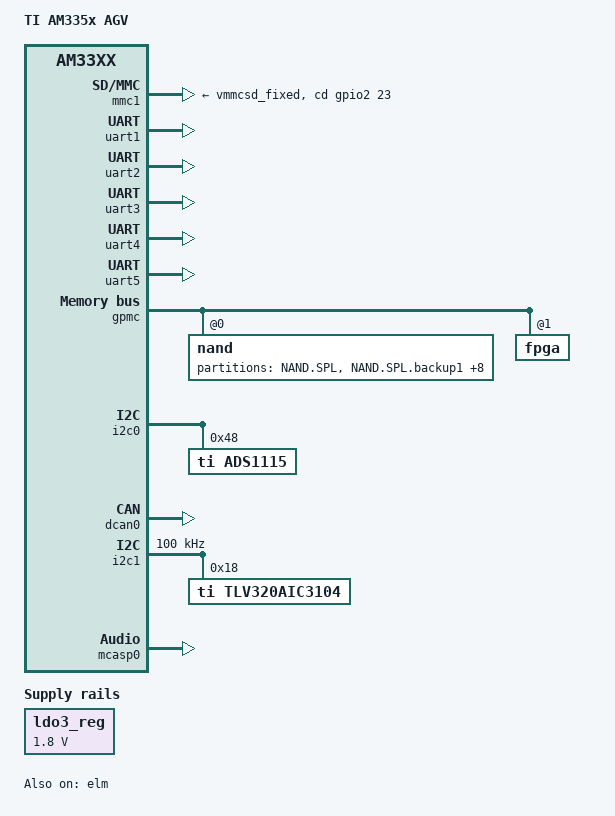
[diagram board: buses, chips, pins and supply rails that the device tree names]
/*
 * Copyright (C) 2012 Texas Instruments Incorporated - http://www.ti.com/
 *
 * This program is free software; you can redistribute it and/or modify
 * it under the terms of the GNU General Public License version 2 as
 * published by the Free Software Foundation.
 */
/dts-v1/;

#include "am33xx.dtsi"
#include "am33xx-es2.dtsi"


#include "am335x-agv-common.dtsi"

/ {
	model = "TI AM335x AGV";
	compatible = "ti,am335x-agv", "ti,am33xx";

/*
	clk_mcasp0: clk_mcasp0 {
		#clock-cells = <0>;
		compatible = "fixed-clock";
		clock-frequency = <12000000>;
	};
*/
	
	sound {
		compatible = "simple-audio-card";
		simple-audio-card,name = "Audio-3104";
		simple-audio-card,widgets =
			"Headphone", "Headphone Jack",
			"Line", "Line In";
		simple-audio-card,routing =
			"Headphone Jack",       "HPLOUT",
			"Headphone Jack",       "HPROUT",
			"LINE1L",               "Line In",
			"LINE1R",               "Line In";
		simple-audio-card,format = "dsp_b";
		simple-audio-card,bitclock-master = <&sound_master>;
		simple-audio-card,frame-master = <&sound_master>;
		simple-audio-card,bitclock-inversion;

		simple-audio-card,cpu {
			sound-dai = <&mcasp0>;
		};

		sound_master: simple-audio-card,codec {
			#sound-dai-cells = <0>;
			sound-dai = <&tlv320aic3104>;
/*
			clocks = <&clk_mcasp0>;
			clock-names = "mclk";
*/
			system-clock-frequency = <12000000>;
		};
	};
};

&ldo3_reg {
	regulator-min-microvolt = <1800000>;
	regulator-max-microvolt = <1800000>;
	regulator-always-on;
};

&mmc1 {
	vmmc-supply = <&vmmcsd_fixed>;
};

&uart1 {
	pinctrl-names = "default";
	pinctrl-0 = <&uart1_pins>;
	status = "okay";
};

&uart2 {
	pinctrl-names = "default";
	pinctrl-0 = <&uart2_pins>;
	status = "okay";
};

&uart3 {
	pinctrl-names = "default";
	pinctrl-0 = <&uart3_pins>;
	status = "okay";
	rts-gpio = <&gpio2 24 GPIO_ACTIVE_HIGH>;
	rs485-rts-active-high;
	rs485-rts-delay = <0 0>;
	linux,rs485-enabled-at-boot-time;
};

&uart4 {
	pinctrl-names = "default";
	pinctrl-0 = <&uart4_pins>;
	status = "okay";
};

&uart5 {
	pinctrl-names = "default";
	pinctrl-0 = <&uart5_pins>;
	status = "okay";
};

&elm {
	status = "okay";
};

&gpmc {
	status = "okay";
	pinctrl-names = "default";
	pinctrl-0 = <&gpmc_pins>;
	ranges = <0 0 0x08000000 0x1000000>,	/* CS0: 16MB for NAND */
			 <1 0 0x10000000 0x1000000>;	/* CS1: 16MB for fpga */
	nand@0,0 {
		reg = <0 0 4>; /* CS0, offset 0, IO size 4 */
		ti,nand-ecc-opt = "bch16";
		ti,elm-id = <&elm>;
		nand-bus-width = <8>;
		gpmc,device-width = <1>;
		gpmc,sync-clk-ps = <0>;
		gpmc,cs-on-ns = <0>;
		gpmc,cs-rd-off-ns = <44>;
		gpmc,cs-wr-off-ns = <44>;
		gpmc,adv-on-ns = <6>;
		gpmc,adv-rd-off-ns = <34>;
		gpmc,adv-wr-off-ns = <44>;
		gpmc,we-on-ns = <0>;
		gpmc,we-off-ns = <40>;
		gpmc,oe-on-ns = <0>;
		gpmc,oe-off-ns = <54>;
		gpmc,access-ns = <64>;
		gpmc,rd-cycle-ns = <82>;
		gpmc,wr-cycle-ns = <82>;
		gpmc,wait-on-read = "true";
		gpmc,wait-on-write = "true";
		gpmc,bus-turnaround-ns = <0>;
		gpmc,cycle2cycle-delay-ns = <0>;
		gpmc,clk-activation-ns = <0>;
		gpmc,wait-monitoring-ns = <0>;
		gpmc,wr-access-ns = <40>;
		gpmc,wr-data-mux-bus-ns = <0>;
		/* gpmc,device-nand = "true"; */
		/* MTD partition table */
		/* All SPL-* partitions are sized to minimal length
		 * which can be independently programmable. For
		 * NAND flash this is equal to size of erase-block */
		#address-cells = <1>;
		#size-cells = <1>;
		partition@0 {
			label = "NAND.SPL";
			reg = <0x00000000 0x000080000>;		/* offset, size */
		};
		partition@1 {
			label = "NAND.SPL.backup1";
			reg = <0x00080000 0x00080000>;
		};
		partition@2 {
			label = "NAND.SPL.backup2";
			reg = <0x00100000 0x00080000>;
		};
		partition@3 {
			label = "NAND.SPL.backup3";
			reg = <0x00180000 0x00080000>;
		};
		partition@4 {
			label = "NAND.u-boot-spl-os";
			reg = <0x00200000 0x00080000>;
		};
		partition@5 {
			label = "NAND.u-boot";
			reg = <0x00280000 0x00100000>;
		};
		partition@6 {
			label = "NAND.u-boot-env";
			reg = <0x00380000 0x00080000>;
		};
		partition@7 {
			label = "NAND.u-boot-env.backup1";
			reg = <0x00400000 0x00080000>;
		};
		partition@8 {
			label = "NAND.kernel";
			reg = <0x00480000 0x00A00000>;
		};
		partition@9 {
			label = "NAND.file-system";
			reg = <0x00e80000 0x3F180000>;
		};
	};
	fpga@1,0 {
		reg = <1 0 0x1000000>;		/* CS1, offset 0 */
		bank-width = <2>;
		gpmc,device-width = <2>;
		gpmc,sync-clk-ps = <0>;		/* timings */
		gpmc,cs-on-ns = <0>;
		gpmc,cs-rd-off-ns = <90>;	/* 80 */
		gpmc,cs-wr-off-ns = <80>;	/* 70 */
		gpmc,adv-on-ns = <0>;
		gpmc,adv-rd-off-ns = <0>;
		gpmc,adv-wr-off-ns = <0>;
		gpmc,we-on-ns = <10>;	/* 10 */
		gpmc,we-off-ns = <80>;	/* 70 */
		gpmc,oe-on-ns = <10>;	/* 10 */
		gpmc,oe-off-ns = <80>;	/* 70 */
		gpmc,access-ns = <70>;	/* 60 */
		gpmc,rd-cycle-ns = <80>;	/* 70 */
		gpmc,wr-cycle-ns = <70>;	/* 60 */
		gpmc,wr-access-ns = <10>;	/* 10 */
		#address-cells = <1>;
		#size-cells = <1>;
	};
};

&am33xx_pinmux {
	uart1_pins: pinmux_uart1_pins {
		pinctrl-single,pins = <
			/* uart1_txd.uart1_txd */
			AM33XX_IOPAD(0x984, PIN_OUTPUT_PULLDOWN | MUX_MODE0)
			/* uart1_rxd.uart1_rxd */
			AM33XX_IOPAD(0x980, PIN_INPUT_PULLUP | MUX_MODE0)
		>;
	};
	uart2_pins: pinmux_uart2_pins {
		pinctrl-single,pins = <
			/* spi0_d0.uart2_txd */
			AM33XX_IOPAD(0x954, PIN_OUTPUT_PULLDOWN | MUX_MODE1)
			/* spi0_clk.uart2_rxd */
			AM33XX_IOPAD(0x950, PIN_INPUT_PULLUP | MUX_MODE1)
		>;
	};
	uart3_pins: pinmux_uart3_pins {
		pinctrl-single,pins = <
			/* lcd_enbkl(eCAP0_in_PWM0_out).uart3_txd */
			AM33XX_IOPAD(0x964, PIN_OUTPUT_PULLDOWN | MUX_MODE1)
			/* spi0_cs1.uart3_rxd */
			AM33XX_IOPAD(0x960, PIN_INPUT_PULLUP | MUX_MODE1)
			/* lcd_pclk GPIO2[24], OUTPUT_PULLDOWN | MODE7 --> UART3_DE */
			AM33XX_IOPAD(0x8E8, PIN_OUTPUT_PULLDOWN | MUX_MODE7)
		>;
	};
	uart4_pins: pinmux_uart4_pins {
		pinctrl-single,pins = <
			/* uart0_rtsn.uart4_txd */
			AM33XX_IOPAD(0x96C, PIN_OUTPUT_PULLDOWN | MUX_MODE1)
			/* uart0_ctsn.uart4_rxd */
			AM33XX_IOPAD(0x968, PIN_INPUT_PULLUP | MUX_MODE1)
		>;
	};
	uart5_pins: pinmux_uart5_pins {
		pinctrl-single,pins = <
			/* lcd_d8.uart5_txd */
			AM33XX_IOPAD(0x8C0, PIN_OUTPUT_PULLDOWN | MUX_MODE4)
			/* lcd_d9.uart5_rxd */
			AM33XX_IOPAD(0x8C4, PIN_INPUT_PULLUP | MUX_MODE4)
		>;
	};
	mmc1_pins: pinmux_mmc1_pins {
		pinctrl-single,pins = <
			AM33XX_IOPAD(0x8E4, PIN_INPUT | MUX_MODE7) /* GPIO2_23 */
		>;
	};
	i2c1_pins: pinmux_i2c1_pins {
		pinctrl-single,pins = <
			AM33XX_IOPAD(0x958, PIN_INPUT_PULLUP | MUX_MODE2)	/* spi0_d1.i2c0_sda */
			AM33XX_IOPAD(0x95c, PIN_INPUT_PULLUP | MUX_MODE2)	/* spi0_cs0.i2c0_scl */
		>;
	};
	audio_pins: pinmux_audio_pins {
		pinctrl-single,pins = <
			0x190 (PIN_INPUT_PULLDOWN | MUX_MODE0)	/* mcasp0_aclkx.mcasp0_aclkx */
			0x194 (PIN_INPUT_PULLDOWN | MUX_MODE0)	/* mcasp0_fsx.mcasp0_fsx, INPUT */
			0x198 (PIN_INPUT_PULLDOWN | MUX_MODE0)	/* mcasp0_axr0.mcasp0_axr0 */
			0x19c (PIN_INPUT_PULLDOWN | MUX_MODE2)	/* mcasp0_ahclkr.mcasp0_axr2 */
			0x1ac (PIN_INPUT_PULLDOWN | MUX_MODE0)	/* MCASP0_AHCLKX -> MCASP0_AHCLKX (I2S_MCLK_OUT)- in */
		>;
	};
	gpmc_pins: pinmux_gpmc_pins {
		pinctrl-single,pins = <
			0x0	(PIN_INPUT_PULLUP | MUX_MODE0)	/* gpmc_ad0.gpmc_ad0 */
			0x4	(PIN_INPUT_PULLUP | MUX_MODE0)	/* gpmc_ad1.gpmc_ad1 */
			0x8	(PIN_INPUT_PULLUP | MUX_MODE0)	/* gpmc_ad2.gpmc_ad2 */
			0xc	(PIN_INPUT_PULLUP | MUX_MODE0)	/* gpmc_ad3.gpmc_ad3 */
			0x10	(PIN_INPUT_PULLUP | MUX_MODE0)	/* gpmc_ad4.gpmc_ad4 */
			0x14	(PIN_INPUT_PULLUP | MUX_MODE0)	/* gpmc_ad5.gpmc_ad5 */
			0x18	(PIN_INPUT_PULLUP | MUX_MODE0)	/* gpmc_ad6.gpmc_ad6 */
			0x1c	(PIN_INPUT_PULLUP | MUX_MODE0)	/* gpmc_ad7.gpmc_ad7 */
			0x70	(PIN_INPUT_PULLUP | MUX_MODE0)	/* gpmc_wait0.gpmc_wait0 */
			/* 0x74	0x37 */	/* gpmc_wpn.gpio0_30 */
			0x7c	(PIN_OUTPUT | MUX_MODE0)	/* gpmc_csn0.gpmc_csn0  */
			0x90	(PIN_OUTPUT | MUX_MODE0)	/* gpmc_advn_ale.gpmc_advn_ale */
			0x94	(PIN_OUTPUT | MUX_MODE0)	/* gpmc_oen_ren.gpmc_oen_ren */
			0x98	(PIN_OUTPUT | MUX_MODE0)	/* gpmc_wen.gpmc_wen */
			0x9c	(PIN_OUTPUT | MUX_MODE0)	/* gpmc_be0n_cle.gpmc_be0n_cle */
			/* for fpga */
			0x20	(PIN_INPUT_PULLUP | MUX_MODE0)	/* gpmc_ad8.gpmc_ad8 MODE0 | INPUT | PULLUP */
			0x24	(PIN_INPUT_PULLUP | MUX_MODE0)	/* gpmc_ad9.gpmc_ad9 MODE0 | INPUT | PULLUP */
			0x28	(PIN_INPUT_PULLUP | MUX_MODE0)	/* gpmc_ad10.gpmc_ad10 MODE0 | INPUT | PULLUP */
			0x2C	(PIN_INPUT_PULLUP | MUX_MODE0)	/* gpmc_ad11.gpmc_ad11 MODE0 | INPUT | PULLUP */
			0x30	(PIN_INPUT_PULLUP | MUX_MODE0)	/* gpmc_ad12.gpmc_ad12 MODE0 | INPUT | PULLUP */
			0x34	(PIN_INPUT_PULLUP | MUX_MODE0)	/* gpmc_ad13.gpmc_ad13 MODE0 | INPUT | PULLUP */
			0x38	(PIN_INPUT_PULLUP | MUX_MODE0)	/* gpmc_ad14.gpmc_ad14 MODE0 | INPUT | PULLUP */
			0x3C	(PIN_INPUT_PULLUP | MUX_MODE0)	/* gpmc_ad15.gpmc_ad15 MODE0 | INPUT | PULLUP */
			0x80	(PIN_OUTPUT | MUX_MODE0)	/* gpmc_cscn1.gpmc_cscn1 MODE0 | OUTPUT */
			0x40	(PIN_OUTPUT | MUX_MODE0)	/* gpmc_a0.gpmc_a0 MODE0 */
			0x44	(PIN_OUTPUT | MUX_MODE0)	/* gpmc_a1.gpmc_a1 MODE0 */
			0x48	(PIN_OUTPUT | MUX_MODE0)	/* gpmc_a2.gpmc_a2 MODE0 */
			0x4C	(PIN_OUTPUT | MUX_MODE0)	/* gpmc_a3.gpmc_a2 MODE0 */
			0x50	(PIN_OUTPUT | MUX_MODE0)	/* gpmc_a4.gpmc_a4 MODE0 */
			0x54	(PIN_OUTPUT | MUX_MODE0)	/* gpmc_a5.gpmc_a5 MODE0 */
			0x58	(PIN_OUTPUT | MUX_MODE0)	/* gpmc_a6.gpmc_a6 MODE0 */
			0x5C	(PIN_OUTPUT | MUX_MODE0)	/* gpmc_a7.gpmc_a7 MODE0 */
			/*0x60	0x08	 gpmc_a8.gpmc_a8 MODE0 */
		>;
	};
	dcan0_pins: pinmux_dcan0_pins {
		pinctrl-single,pins = <
			0x178 0x12 	/* uart1_ctsn, SLEWCTRL_FAST | INPUT_PULLUP | MODE2 | TX */
			0x17c 0x32	/* uart1_rtsn, SLEWCTRL_FAST | RECV_ENABLE | INPUT_PULLUP | MODE2 | RX */
		>;
	};
};

&i2c0 {
	#address-cells = <1>;
	#size-cells = <0>;
	status = "okay";

	ads1115: ads1115@48 {
		compatible = "ti,ads1115";
		status = "okay";
		#address-cells = <1>;
		#size-cells = <0>;
		reg = <0x48>;
		channel@1 {
			reg = <0>;
			ti,gain = <2>;
			ti,datarate = <2>;		// 32 SPS
		};
		channel@2 {
			reg = <3>;
			ti,gain = <1>;
			ti,datarate = <2>;		// 32 SPS
		};
	};
};

&dcan0 {
	status = "okay";
	pinctrl-names = "default";
	pinctrl-0 = <&dcan0_pins>;
};

&mmc1 {
	status = "okay";
	pinctrl-names = "default";
	pinctrl-0 = <&mmc1_pins>;
	cd-gpios = <&gpio2 23 GPIO_ACTIVE_LOW>;
	cd-inverted;
};

&i2c1 {
	clock-frequency = <100000>;
	status = "okay";

	pinctrl-names = "default";
	pinctrl-0 = <&i2c1_pins>;

	tlv320aic3104: tlv320aic3104@18 {
		#sound-dai-cells = <0>;
		compatible = "ti,tlv320aic3104";
		reg = <0x18>;
	};
};

&mcasp0 {
	#sound-dai-cells = <0>;
	pinctrl-names = "default";
	pinctrl-0 = <&audio_pins>;

	status = "okay";
	op-mode = <0>;          /* MCASP_IIS_MODE */
	tdm-slots = <2>;
	num-serializer = <16>;
	serial-dir = <  /* 0: INACTIVE, 1: TX, 2: RX */
		2 0 1 0
		0 0 0 0
		0 0 0 0
		0 0 0 0
	>;
	tx-num-evt = <1>;
	rx-num-evt = <1>;
};
